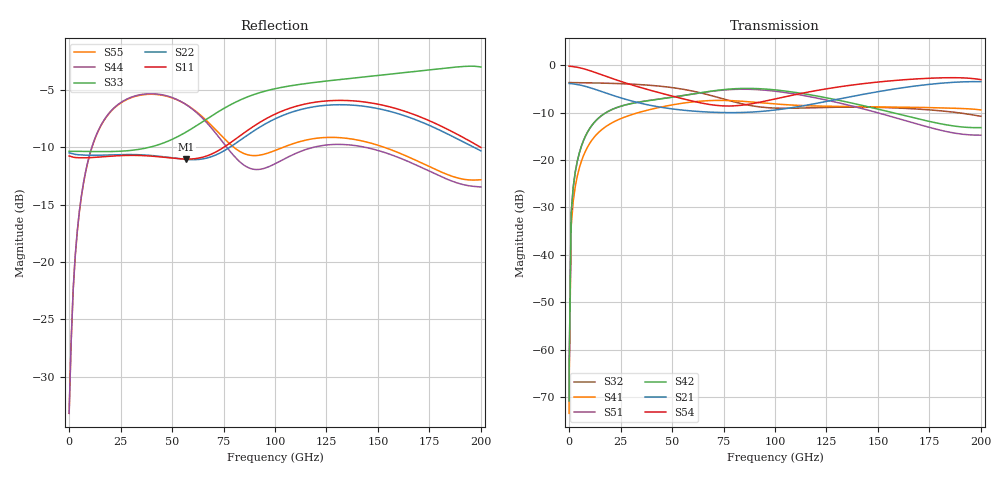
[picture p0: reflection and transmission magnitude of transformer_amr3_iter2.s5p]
! Created with skrf 2.2.0 (http://scikit-rf.org).
# GHz S DB R 50.0
! Port[1] = P1
! Port[2] = P2
! Port[3] = P3
! Port[4] = P4
! Port[5] = P5
!freq dBS11 angS11 dBS12 angS12 dBS13 angS13
! dBS14 angS14 dBS15 angS15
! dBS21 angS21 dBS22 angS22 dBS23 angS23
! dBS24 angS24 dBS25 angS25
! dBS31 angS31 dBS32 angS32 dBS33 angS33
! dBS34 angS34 dBS35 angS35
! dBS41 angS41 dBS42 angS42 dBS43 angS43
! dBS44 angS44 dBS45 angS45
! dBS51 angS51 dBS52 angS52 dBS53 angS53
! dBS54 angS54 dBS55 angS55
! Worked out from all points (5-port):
!   202 points, 10 MHz to 200 GHz, reference 50 ohm
!   strongest paths, dB at 10 MHz, 49 GHz, 100 GHz, 150 GHz, 200 GHz:
!     S54: -0.2, -6.4, -7.1, -3.5, -3.0
!     S21: -3.8, -9.1, -9.4, -5.6, -3.5
!     S42: -70.8, -6.8, -5.2, -9.2, -13.2
!     S51: -70.8, -6.8, -5.5, -10.0, -14.8
!     S41: -73.4, -8.4, -8.2, -8.8, -9.4
!     S32: -3.7, -4.7, -9.0, -8.9, -10.8
!   lowest |S11| = -11.0 dB at 57 GHz (marker M1), VSWR 1.78, Z = 72.5 + j27.2 ohm
!   |S11| at or under -10 dB: start of sweep to 74.99 GHz; 199.9886 GHz to end of sweep
